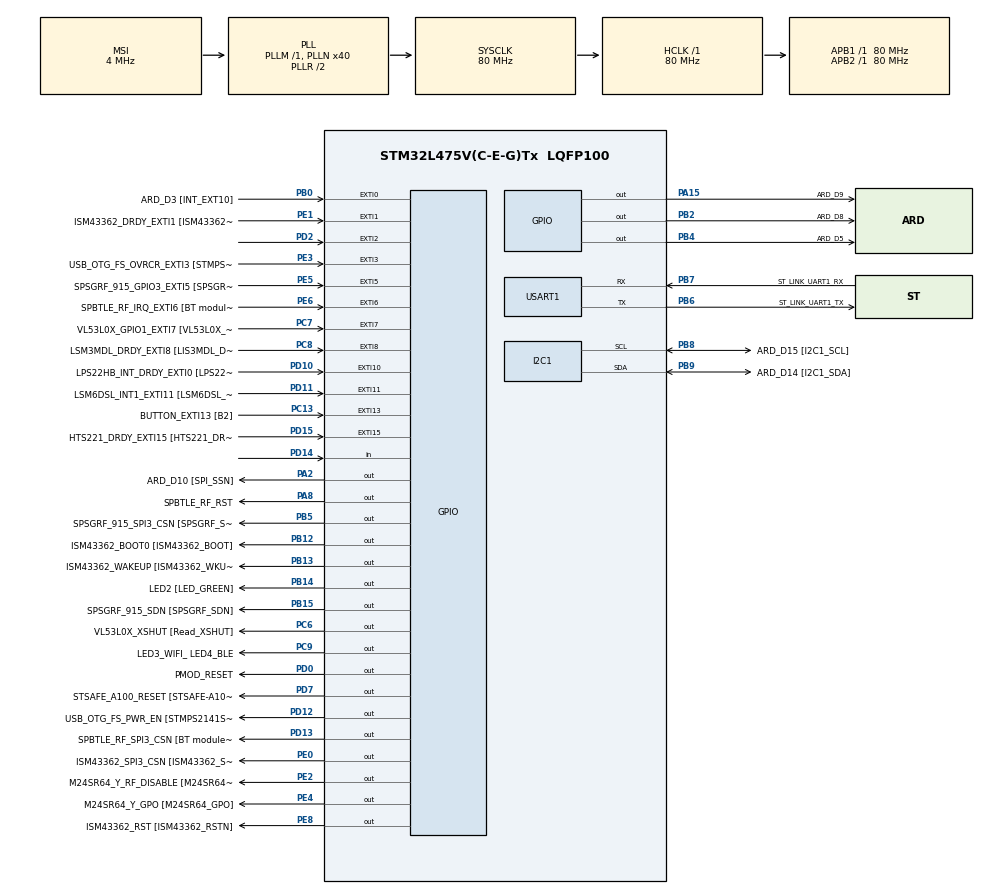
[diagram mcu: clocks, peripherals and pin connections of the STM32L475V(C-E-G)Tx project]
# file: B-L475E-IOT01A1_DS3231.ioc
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I2C1.Timing=0x10909CEC
Mcu.Family=STM32L4
Mcu.Name=STM32L475V(C-E-G)Tx
Mcu.Package=LQFP100
NVIC.EXTI15_10_IRQn=true\:0\:0\:false\:false\:true\:true\:true\:true
NVIC.EXTI9_5_IRQn=true\:0\:0\:false\:false\:true\:true\:true\:true
NVIC.PriorityGroup=NVIC_PRIORITYGROUP_4
PA0.GPIO_Label=ARD_D1 [UART4_TX]
PA0.Signal=UART4_TX
PA1.GPIO_Label=ARD_D0 [UART4_RX]
PA1.Signal=UART4_RX
PA10.GPIO_Label=USB_OTG_FS_ID
PA10.Signal=USB_OTG_FS_ID
PA11.GPIO_Label=USB_OTG_FS_DM
PA11.Signal=USB_OTG_FS_DM
PA12.GPIO_Label=USB_OTG_FS_DP
PA12.Signal=USB_OTG_FS_DP
PA13\ (JTMS-SWDIO).GPIO_Label=SYS_JTMS_SWDIO
PA13\ (JTMS-SWDIO).Signal=SYS_JTMS-SWDIO
PA14\ (JTCK-SWCLK).GPIO_Label=SYS_JTCK_SWCLK
PA14\ (JTCK-SWCLK).Signal=SYS_JTCK-SWCLK
PA15\ (JTDI).GPIO_Label=ARD_D9
PA15\ (JTDI).Signal=GPIO_Output
PA2.GPIO_Label=ARD_D10 [SPI_SSN]
PA2.Signal=GPIO_Output
PA3.GPIO_Label=ARD_D4
PA3.Signal=S_TIM2_CH4
PA4.GPIO_Label=ARD_D7
PA4.Signal=ADCx_IN9
PA5.GPIO_Label=ARD_D13 [SPI1_SCK]
PA5.Signal=SPI1_SCK
PA6.GPIO_Label=ARD_D12 [SPI1_MISO]
PA6.Signal=SPI1_MISO
PA7.GPIO_Label=ARD_D11 [SPI1_MOSI]
PA7.Signal=SPI1_MOSI
PA8.GPIO_Label=SPBTLE_RF_RST
PA8.Signal=GPIO_Output
PA9.GPIO_Label=USB_OTG_FS_VBUS [STMPS2141STR_OUT]
PA9.Signal=USB_OTG_FS_VBUS
PB0.GPIO_Label=ARD_D3 [INT_EXT10]
PB0.Signal=GPXTI0
PB1.GPIO_Label=ARD_D6 [ADC1_IN6]
PB1.Signal=ADCx_IN16
PB10.GPIO_Label=INTERNAL_I2C2_SCL [VL53L0X_SCL]
PB10.Signal=I2C2_SCL
PB11.GPIO_Label=INTERNAL_I2C2_SDA [VL53L0X_SDA]
PB11.Signal=I2C2_SDA
PB12.GPIO_Label=ISM43362_BOOT0 [ISM43362_BOOT]
PB12.Signal=GPIO_Output
PB13.GPIO_Label=ISM43362_WAKEUP [ISM43362_WKUP]
PB13.Signal=GPIO_Output
PB14.GPIO_Label=LED2 [LED_GREEN]
PB14.Signal=GPIO_Output
PB15.GPIO_Label=SPSGRF_915_SDN [SPSGRF_SDN]
PB15.Signal=GPIO_Output
PB2.GPIO_Label=ARD_D8
PB2.Signal=GPIO_Output
PB3\ (JTDO-TRACESWO).GPIO_Label=SYS_JTD0_SWO
PB3\ (JTDO-TRACESWO).Signal=SYS_JTDO-SWO
PB4\ (NJTRST).GPIO_Label=ARD_D5
PB4\ (NJTRST).Signal=GPIO_Output
PB5.GPIO_Label=SPSGRF_915_SPI3_CSN [SPSGRF_SPI_CS]
PB5.PinState=GPIO_PIN_SET
PB5.Signal=GPIO_Output
PB6.GPIO_Label=ST_LINK_UART1_TX
PB6.Mode=Asynchronous
PB6.Signal=USART1_TX
PB7.GPIO_Label=ST_LINK_UART1_RX
PB7.Mode=Asynchronous
PB7.Signal=USART1_RX
PB8.GPIO_Label=ARD_D15 [I2C1_SCL]
PB8.Mode=I2C
PB8.Signal=I2C1_SCL
PB9.GPIO_Label=ARD_D14 [I2C1_SDA]
PB9.Mode=I2C
PB9.Signal=I2C1_SDA
PC0.GPIO_Label=ARD_A5 [ADC]
PC0.Signal=ADCx_IN1
PC1.GPIO_Label=ARD_A4 [ADC]
PC1.Signal=ADCx_IN2
PC10.GPIO_Label=INTERNAL_SPI3_SCK [BT module_SPI_SCLK] [ISM43362_SCK]
PC10.Signal=SPI3_SCK
PC11.GPIO_Label=INTERNAL_SPI3_MISO [BT module_SPI_MISO] [ISM43362_MISO]
PC11.Signal=SPI3_MISO
PC12.GPIO_Label=INTERNAL_SPI3_MOSI [BT module_SPI_MOSI] [ISM43362_MOSI]
PC12.Signal=SPI3_MOSI
PC13.GPIO_Label=BUTTON_EXTI13 [B2]
PC13.GPIO_ModeDefaultEXTI=GPIO_MODE_IT_FALLING
PC13.Signal=GPXTI13
PC14-OSC32_IN\ (PC14).Signal=RCC_OSC32_IN
PC15-OSC32_OUT\ (PC15).Signal=RCC_OSC32_OUT
PC2.GPIO_Label=ARD_A3 [ADC]
PC2.Signal=ADCx_IN3
PC3.GPIO_Label=ARD_A2 [ADC]
PC3.Signal=ADCx_IN4
PC4.GPIO_Label=ARD_A1 [ADC]
PC4.Signal=ADCx_IN13
PC5.GPIO_Label=ARD_A0 [ADC]
PC5.Signal=ADCx_IN14
PC6.GPIO_Label=VL53L0X_XSHUT [Read_XSHUT]
PC6.Signal=GPIO_Output
PC7.GPIO_Label=VL53L0X_GPIO1_EXTI7 [VL53L0X_GPIO1]
PC7.Signal=GPXTI7
PC8.GPIO_Label=LSM3MDL_DRDY_EXTI8 [LIS3MDL_DRDY]
PC8.Signal=GPXTI8
PC9.GPIO_Label=LED3_WIFI_ LED4_BLE
PC9.Signal=GPIO_Output
PD0.GPIO_Label=PMOD_RESET
PD0.Signal=GPIO_Output
PD1.GPIO_Label=PMOD_SPI2_SCK
PD1.Signal=SPI2_SCK
PD10.GPIO_Label=LPS22HB_INT_DRDY_EXTI0 [LPS22HB_INT_DRDY] 
PD10.Signal=GPXTI10
PD11.GPIO_Label=LSM6DSL_INT1_EXTI11 [LSM6DSL_INT1]
PD11.Signal=GPXTI11
PD12.GPIO_Label=USB_OTG_FS_PWR_EN [STMPS2141STR_EN]
PD12.Signal=GPIO_Output
PD13.GPIO_Label=SPBTLE_RF_SPI3_CSN [BT module_SPI_CS]
PD13.PinState=GPIO_PIN_SET
PD13.Signal=GPIO_Output
PD14.Signal=GPIO_Input
PD15.GPIO_Label=HTS221_DRDY_EXTI15 [HTS221_DRDY]
PD15.Signal=GPXTI15
PD2.Signal=GPXTI2
PD3.GPIO_Label=PMOD_UART2_CTS
PD3.Signal=USART2_CTS
PD4.GPIO_Label=PMOD_UART2_RTS
PD4.Signal=USART2_RTS
PD5.GPIO_Label=PMOD_UART2_TX
PD5.Signal=USART2_TX
PD6.GPIO_Label=PMOD_UART2_RX
PD6.Signal=USART2_RX
PD7.GPIO_Label=STSAFE_A100_RESET [STSAFE-A100_RESET]
PD7.Signal=GPIO_Output
PD8.GPIO_Label=INTERNAL_UART3_TX [ISM43362_RX]
PD8.Signal=USART3_TX
PD9.GPIO_Label=INTERNAL_UART3_RX [ISM43362_TX]
PD9.Signal=USART3_RX
PE0.GPIO_Label=ISM43362_SPI3_CSN [ISM43362_SSN]
PE0.PinState=GPIO_PIN_SET
PE0.Signal=GPIO_Output
PE1.GPIO_Label=ISM43362_DRDY_EXTI1 [ISM43362_DATARDY]
PE1.Signal=GPXTI1
PE10.GPIO_Label=QUADSPI_CLK [MX25R6435F_SCLK]
PE10.Signal=QUADSPI_CLK
PE11.GPIO_Label=QUADSPI_NCS [MX25R6435F_SCLK]
PE11.Signal=QUADSPI_NCS
PE12.GPIO_Label=OQUADSPI_BK1_IO0 [MX25R6435F_IO0]
PE12.Signal=QUADSPI_BK1_IO0
PE13.GPIO_Label=QUADSPI_BK1_IO1 [MX25R6435F_IO1]
PE13.Signal=QUADSPI_BK1_IO1
PE14.GPIO_Label=QUAD_SPI_BK1_IO2 [MX25R6435F_IO2]
PE14.Signal=QUADSPI_BK1_IO2
PE15.GPIO_Label=QUAD_SPI_BK1_IO3 [MX25R6435F_IO3]
PE15.Signal=QUADSPI_BK1_IO3
PE2.GPIO_Label=M24SR64_Y_RF_DISABLE [M24SR64_RFDIS]
PE2.Signal=GPIO_Output
PE3.GPIO_Label=USB_OTG_FS_OVRCR_EXTI3 [STMPS2141STR_FAULT]
PE3.Signal=GPXTI3
PE4.GPIO_Label=M24SR64_Y_GPO [M24SR64_GPO]
PE4.Signal=GPIO_Output
PE5.GPIO_Label=SPSGRF_915_GPIO3_EXTI5 [SPSGRF_GPIO_3]
PE5.Signal=GPXTI5
PE6.GPIO_Label=SPBTLE_RF_IRQ_EXTI6 [BT module_SPI_IRQ]
PE6.Signal=GPXTI6
PE7.GPIO_Label=DFSDM1_DATIN2 [MP34DT01_DOUT]
PE7.Signal=S_DATAIN2DFSDM1
PE8.GPIO_Label=ISM43362_RST [ISM43362_RSTN]
PE8.Signal=GPIO_Output
PE9.GPIO_Label=DFSDM1_CKOUT [MP34DT01_CLK]
PE9.Signal=S_CKOUTDFSDM1
ProjectManager.HeapSize=0x200
ProjectManager.StackSize=0x400
ProjectManager.TargetToolchain=STM32CubeIDE
RCC.ADCFreq_Value=48000000
RCC.AHBFreq_Value=80000000
RCC.APB1Freq_Value=80000000
RCC.APB1TimFreq_Value=80000000
RCC.APB2Freq_Value=80000000
RCC.APB2TimFreq_Value=80000000
RCC.CortexFreq_Value=80000000
RCC.HCLKFreq_Value=80000000
RCC.HSE_VALUE=8000000
RCC.HSI_VALUE=16000000
RCC.LSE_VALUE=32768
RCC.MSI_VALUE=4000000
RCC.PLLN=40
RCC.PLLSAI1N=24
RCC.SYSCLKFreq_VALUE=80000000
RCC.SYSCLKSource=RCC_SYSCLKSOURCE_PLLCLK
RCC.USBFreq_Value=48000000
RCC.VCOOutputFreq_Value=160000000
SH.ADCx_IN1.0=ADC1_IN1
SH.ADCx_IN13.0=ADC1_IN13
SH.ADCx_IN14.0=ADC1_IN14
SH.ADCx_IN16.0=ADC1_IN16
SH.ADCx_IN2.0=ADC1_IN2
SH.ADCx_IN3.0=ADC1_IN3
SH.ADCx_IN4.0=ADC1_IN4
SH.ADCx_IN9.0=ADC1_IN9
SH.S_CKOUTDFSDM1.0=DFSDM1_CKOUT
SH.S_DATAIN2DFSDM1.0=DFSDM1_DATIN2
SH.S_TIM2_CH4.0=TIM2_CH4
USART1.VirtualMode-Asynchronous=VM_ASYNC
board=B-L475E-IOT01A1

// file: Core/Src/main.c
/* USER CODE BEGIN Header */
/**
  ******************************************************************************
  * @file           : main.c
  * @brief          : Main program body
  ******************************************************************************
  * @attention
  *
  * Copyright (c) 2023 STMicroelectronics.
  * All rights reserved.
  *
  * This software is licensed under terms that can be found in the LICENSE file
  * in the root directory of this software component.
  * If no LICENSE file comes with this software, it is provided AS-IS.
  *
  ******************************************************************************
  */
/* USER CODE END Header */
#include "main.h"

/* USER CODE BEGIN Includes */
#include "stdio.h"
/* USER CODE END Includes */

/* USER CODE BEGIN PTD */

TIME time;
/* USER CODE END PTD */

I2C_HandleTypeDef hi2c1;

UART_HandleTypeDef huart1;

extern DS3231DrvTypDef DS3231;

void SystemClock_Config(void);
static void MX_GPIO_Init(void);
static void MX_I2C1_Init(void);
static void MX_USART1_UART_Init(void);

/* USER CODE BEGIN 0 */
// A function to set the time on the DS3231

// Convert binary coded decimal to normal decimal numbers

/* USER CODE END 0 */

int main(void)
{
  /* USER CODE BEGIN 1 */
  float TEMP;
  /* USER CODE END 1 */

  /* MCU Configuration--------------------------------------------------------*/

  /* Reset of all peripherals, Initializes the Flash interface and the Systick. */
  HAL_Init();

  /* Configure the system clock */
  SystemClock_Config();

  /* Initialize all configured peripherals */
  MX_GPIO_Init();
  MX_I2C1_Init();
  MX_USART1_UART_Init();
  /* USER CODE BEGIN 2 */
  //DS3231.SetTime(45, 45, 13, 6, 9, 7, 23);
  /* USER CODE END 2 */

  /* Infinite loop */
  while (1)
  {

    /* USER CODE BEGIN 3 */
	  DS3231.RetriveTime();
	  GPIO_PinState motionSensor_state = HAL_GPIO_ReadPin(GPIOD, GPIO_PIN_14);
	  char message[32];
	  char msg[64];

	  if(motionSensor_state == GPIO_PIN_SET){
		  sprintf(message, "Warning: Motion detected ! \r\n");
		  send_uart(message);
	  }else{
		  sprintf(message, "Normal ! \r\n");
		  send_uart(message);
	  }

      sprintf(msg, "Time: %02d:%02d:%02d \r\n"
    		  	   "Date: %02d-%02d-20%02d- Day of Week: %02d\r\n",
				   time.hour, time.minutes, time.seconds, time.dayofmonth, time.month, time.year, time.dayofweek);

      send_uart(msg);
      DS3231.TemperatureConversion_foreced();
      TEMP = DS3231.RetriveTemperature();
      sprintf(msg, "Current temperature: %.2f C \r\n\r\n", TEMP);
      send_uart(msg);

      // Delay for three seconds
      HAL_Delay(3000);

  }
  /* USER CODE END 3 */
}

void SystemClock_Config(void)
{
  RCC_OscInitTypeDef RCC_OscInitStruct = {0};
  RCC_ClkInitTypeDef RCC_ClkInitStruct = {0};

  /** Configure the main internal regulator output voltage
  */
  if (HAL_PWREx_ControlVoltageScaling(PWR_REGULATOR_VOLTAGE_SCALE1) != HAL_OK)
  {
    Error_Handler();
  }

  /** Initializes the RCC Oscillators according to the specified parameters
  * in the RCC_OscInitTypeDef structure.
  */
  RCC_OscInitStruct.OscillatorType = RCC_OSCILLATORTYPE_MSI;
  RCC_OscInitStruct.MSIState = RCC_MSI_ON;
  RCC_OscInitStruct.MSICalibrationValue = 0;
  RCC_OscInitStruct.MSIClockRange = RCC_MSIRANGE_6;
  RCC_OscInitStruct.PLL.PLLState = RCC_PLL_ON;
  RCC_OscInitStruct.PLL.PLLSource = RCC_PLLSOURCE_MSI;
  RCC_OscInitStruct.PLL.PLLM = 1;
  RCC_OscInitStruct.PLL.PLLN = 40;
  RCC_OscInitStruct.PLL.PLLP = RCC_PLLP_DIV7;
  RCC_OscInitStruct.PLL.PLLQ = RCC_PLLQ_DIV2;
  RCC_OscInitStruct.PLL.PLLR = RCC_PLLR_DIV2;
  if (HAL_RCC_OscConfig(&RCC_OscInitStruct) != HAL_OK)
  {
    Error_Handler();
  }

  /** Initializes the CPU, AHB and APB buses clocks
  */
  RCC_ClkInitStruct.ClockType = RCC_CLOCKTYPE_HCLK|RCC_CLOCKTYPE_SYSCLK
                              |RCC_CLOCKTYPE_PCLK1|RCC_CLOCKTYPE_PCLK2;
  RCC_ClkInitStruct.SYSCLKSource = RCC_SYSCLKSOURCE_PLLCLK;
  RCC_ClkInitStruct.AHBCLKDivider = RCC_SYSCLK_DIV1;
  RCC_ClkInitStruct.APB1CLKDivider = RCC_HCLK_DIV1;
  RCC_ClkInitStruct.APB2CLKDivider = RCC_HCLK_DIV1;

  if (HAL_RCC_ClockConfig(&RCC_ClkInitStruct, FLASH_LATENCY_4) != HAL_OK)
  {
    Error_Handler();
  }
}

static void MX_I2C1_Init(void)
{

  hi2c1.Instance = I2C1;
  hi2c1.Init.Timing = 0x10909CEC;
  hi2c1.Init.OwnAddress1 = 0;
  hi2c1.Init.AddressingMode = I2C_ADDRESSINGMODE_7BIT;
  hi2c1.Init.DualAddressMode = I2C_DUALADDRESS_DISABLE;
  hi2c1.Init.OwnAddress2 = 0;
  hi2c1.Init.OwnAddress2Masks = I2C_OA2_NOMASK;
  hi2c1.Init.GeneralCallMode = I2C_GENERALCALL_DISABLE;
  hi2c1.Init.NoStretchMode = I2C_NOSTRETCH_DISABLE;
  if (HAL_I2C_Init(&hi2c1) != HAL_OK)
  {
    Error_Handler();
  }

  /** Configure Analogue filter
  */
  if (HAL_I2CEx_ConfigAnalogFilter(&hi2c1, I2C_ANALOGFILTER_ENABLE) != HAL_OK)
  {
    Error_Handler();
  }

  /** Configure Digital filter
  */
  if (HAL_I2CEx_ConfigDigitalFilter(&hi2c1, 0) != HAL_OK)
  {
    Error_Handler();
  }

}

static void MX_USART1_UART_Init(void)
{

  huart1.Instance = USART1;
  huart1.Init.BaudRate = 115200;
  huart1.Init.WordLength = UART_WORDLENGTH_8B;
  huart1.Init.StopBits = UART_STOPBITS_1;
  huart1.Init.Parity = UART_PARITY_NONE;
  huart1.Init.Mode = UART_MODE_TX_RX;
  huart1.Init.HwFlowCtl = UART_HWCONTROL_NONE;
  huart1.Init.OverSampling = UART_OVERSAMPLING_16;
  huart1.Init.OneBitSampling = UART_ONE_BIT_SAMPLE_DISABLE;
  huart1.AdvancedInit.AdvFeatureInit = UART_ADVFEATURE_NO_INIT;
  if (HAL_UART_Init(&huart1) != HAL_OK)
  {
    Error_Handler();
  }

}

static void MX_GPIO_Init(void)
{
  GPIO_InitTypeDef GPIO_InitStruct = {0};

  /* GPIO Ports Clock Enable */
  __HAL_RCC_GPIOE_CLK_ENABLE();
  __HAL_RCC_GPIOC_CLK_ENABLE();
  __HAL_RCC_GPIOA_CLK_ENABLE();
  __HAL_RCC_GPIOB_CLK_ENABLE();
  __HAL_RCC_GPIOD_CLK_ENABLE();

  /*Configure GPIO pin Output Level */
  HAL_GPIO_WritePin(GPIOE, M24SR64_Y_RF_DISABLE_Pin|M24SR64_Y_GPO_Pin|ISM43362_RST_Pin, GPIO_PIN_RESET);

  /*Configure GPIO pin Output Level */
  HAL_GPIO_WritePin(GPIOA, ARD_D10_Pin|SPBTLE_RF_RST_Pin|ARD_D9_Pin, GPIO_PIN_RESET);

  /*Configure GPIO pin Output Level */
  HAL_GPIO_WritePin(GPIOB, ARD_D8_Pin|ISM43362_BOOT0_Pin|ISM43362_WAKEUP_Pin|LED2_Pin
                          |SPSGRF_915_SDN_Pin|ARD_D5_Pin, GPIO_PIN_RESET);

  /*Configure GPIO pin Output Level */
  HAL_GPIO_WritePin(GPIOD, USB_OTG_FS_PWR_EN_Pin|PMOD_RESET_Pin|STSAFE_A100_RESET_Pin, GPIO_PIN_RESET);

  /*Configure GPIO pin Output Level */
  HAL_GPIO_WritePin(SPBTLE_RF_SPI3_CSN_GPIO_Port, SPBTLE_RF_SPI3_CSN_Pin, GPIO_PIN_SET);

  /*Configure GPIO pin Output Level */
  HAL_GPIO_WritePin(GPIOC, VL53L0X_XSHUT_Pin|LED3_WIFI__LED4_BLE_Pin, GPIO_PIN_RESET);

  /*Configure GPIO pin Output Level */
  HAL_GPIO_WritePin(SPSGRF_915_SPI3_CSN_GPIO_Port, SPSGRF_915_SPI3_CSN_Pin, GPIO_PIN_SET);

  /*Configure GPIO pin Output Level */
  HAL_GPIO_WritePin(ISM43362_SPI3_CSN_GPIO_Port, ISM43362_SPI3_CSN_Pin, GPIO_PIN_SET);

  /*Configure GPIO pins : M24SR64_Y_RF_DISABLE_Pin M24SR64_Y_GPO_Pin ISM43362_RST_Pin ISM43362_SPI3_CSN_Pin */
  GPIO_InitStruct.Pin = M24SR64_Y_RF_DISABLE_Pin|M24SR64_Y_GPO_Pin|ISM43362_RST_Pin|ISM43362_SPI3_CSN_Pin;
  GPIO_InitStruct.Mode = GPIO_MODE_OUTPUT_PP;
  GPIO_InitStruct.Pull = GPIO_NOPULL;
  GPIO_InitStruct.Speed = GPIO_SPEED_FREQ_LOW;
  HAL_GPIO_Init(GPIOE, &GPIO_InitStruct);

  /*Configure GPIO pins : USB_OTG_FS_OVRCR_EXTI3_Pin SPSGRF_915_GPIO3_EXTI5_Pin SPBTLE_RF_IRQ_EXTI6_Pin ISM43362_DRDY_EXTI1_Pin */
  GPIO_InitStruct.Pin = USB_OTG_FS_OVRCR_EXTI3_Pin|SPSGRF_915_GPIO3_EXTI5_Pin|SPBTLE_RF_IRQ_EXTI6_Pin|ISM43362_DRDY_EXTI1_Pin;
  GPIO_InitStruct.Mode = GPIO_MODE_IT_RISING;
  GPIO_InitStruct.Pull = GPIO_NOPULL;
  HAL_GPIO_Init(GPIOE, &GPIO_InitStruct);

  /*Configure GPIO pin : BUTTON_EXTI13_Pin */
  GPIO_InitStruct.Pin = BUTTON_EXTI13_Pin;
  GPIO_InitStruct.Mode = GPIO_MODE_IT_FALLING;
  GPIO_InitStruct.Pull = GPIO_NOPULL;
  HAL_GPIO_Init(BUTTON_EXTI13_GPIO_Port, &GPIO_InitStruct);

  /*Configure GPIO pins : ARD_A5_Pin ARD_A4_Pin ARD_A3_Pin ARD_A2_Pin
                           ARD_A1_Pin ARD_A0_Pin */
  GPIO_InitStruct.Pin = ARD_A5_Pin|ARD_A4_Pin|ARD_A3_Pin|ARD_A2_Pin
                          |ARD_A1_Pin|ARD_A0_Pin;
  GPIO_InitStruct.Mode = GPIO_MODE_ANALOG_ADC_CONTROL;
  GPIO_InitStruct.Pull = GPIO_NOPULL;
  HAL_GPIO_Init(GPIOC, &GPIO_InitStruct);

  /*Configure GPIO pins : ARD_D1_Pin ARD_D0_Pin */
  GPIO_InitStruct.Pin = ARD_D1_Pin|ARD_D0_Pin;
  GPIO_InitStruct.Mode = GPIO_MODE_AF_PP;
  GPIO_InitStruct.Pull = GPIO_NOPULL;
  GPIO_InitStruct.Speed = GPIO_SPEED_FREQ_VERY_HIGH;
  GPIO_InitStruct.Alternate = GPIO_AF8_UART4;
  HAL_GPIO_Init(GPIOA, &GPIO_InitStruct);

  /*Configure GPIO pins : ARD_D10_Pin SPBTLE_RF_RST_Pin ARD_D9_Pin */
  GPIO_InitStruct.Pin = ARD_D10_Pin|SPBTLE_RF_RST_Pin|ARD_D9_Pin;
  GPIO_InitStruct.Mode = GPIO_MODE_OUTPUT_PP;
  GPIO_InitStruct.Pull = GPIO_NOPULL;
  GPIO_InitStruct.Speed = GPIO_SPEED_FREQ_LOW;
  HAL_GPIO_Init(GPIOA, &GPIO_InitStruct);

  /*Configure GPIO pin : ARD_D4_Pin */
  GPIO_InitStruct.Pin = ARD_D4_Pin;
  GPIO_InitStruct.Mode = GPIO_MODE_AF_PP;
  GPIO_InitStruct.Pull = GPIO_NOPULL;
  GPIO_InitStruct.Speed = GPIO_SPEED_FREQ_LOW;
  GPIO_InitStruct.Alternate = GPIO_AF1_TIM2;
  HAL_GPIO_Init(ARD_D4_GPIO_Port, &GPIO_InitStruct);

  /*Configure GPIO pin : ARD_D7_Pin */
  GPIO_InitStruct.Pin = ARD_D7_Pin;
  GPIO_InitStruct.Mode = GPIO_MODE_ANALOG_ADC_CONTROL;
  GPIO_InitStruct.Pull = GPIO_NOPULL;
  HAL_GPIO_Init(ARD_D7_GPIO_Port, &GPIO_InitStruct);

  /*Configure GPIO pins : ARD_D13_Pin ARD_D12_Pin ARD_D11_Pin */
  GPIO_InitStruct.Pin = ARD_D13_Pin|ARD_D12_Pin|ARD_D11_Pin;
  GPIO_InitStruct.Mode = GPIO_MODE_AF_PP;
  GPIO_InitStruct.Pull = GPIO_NOPULL;
  GPIO_InitStruct.Speed = GPIO_SPEED_FREQ_VERY_HIGH;
  GPIO_InitStruct.Alternate = GPIO_AF5_SPI1;
  HAL_GPIO_Init(GPIOA, &GPIO_InitStruct);

  /*Configure GPIO pin : ARD_D3_Pin */
  GPIO_InitStruct.Pin = ARD_D3_Pin;
  GPIO_InitStruct.Mode = GPIO_MODE_IT_RISING;
  GPIO_InitStruct.Pull = GPIO_NOPULL;
  HAL_GPIO_Init(ARD_D3_GPIO_Port, &GPIO_InitStruct);

  /*Configure GPIO pin : ARD_D6_Pin */
  GPIO_InitStruct.Pin = ARD_D6_Pin;
  GPIO_InitStruct.Mode = GPIO_MODE_ANALOG_ADC_CONTROL;
  GPIO_InitStruct.Pull = GPIO_NOPULL;
  HAL_GPIO_Init(ARD_D6_GPIO_Port, &GPIO_InitStruct);

  /*Configure GPIO pins : ARD_D8_Pin ISM43362_BOOT0_Pin ISM43362_WAKEUP_Pin LED2_Pin
                           SPSGRF_915_SDN_Pin ARD_D5_Pin SPSGRF_915_SPI3_CSN_Pin */
  GPIO_InitStruct.Pin = ARD_D8_Pin|ISM43362_BOOT0_Pin|ISM43362_WAKEUP_Pin|LED2_Pin
                          |SPSGRF_915_SDN_Pin|ARD_D5_Pin|SPSGRF_915_SPI3_CSN_Pin;
  GPIO_InitStruct.Mode = GPIO_MODE_OUTPUT_PP;
  GPIO_InitStruct.Pull = GPIO_NOPULL;
  GPIO_InitStruct.Speed = GPIO_SPEED_FREQ_LOW;
  HAL_GPIO_Init(GPIOB, &GPIO_InitStruct);

  /*Configure GPIO pins : DFSDM1_DATIN2_Pin DFSDM1_CKOUT_Pin */
  GPIO_InitStruct.Pin = DFSDM1_DATIN2_Pin|DFSDM1_CKOUT_Pin;
  GPIO_InitStruct.Mode = GPIO_MODE_AF_PP;
  GPIO_InitStruct.Pull = GPIO_NOPULL;
  GPIO_InitStruct.Speed = GPIO_SPEED_FREQ_LOW;
  GPIO_InitStruct.Alternate = GPIO_AF6_DFSDM1;
  HAL_GPIO_Init(GPIOE, &GPIO_InitStruct);

  /*Configure GPIO pins : QUADSPI_CLK_Pin QUADSPI_NCS_Pin OQUADSPI_BK1_IO0_Pin QUADSPI_BK1_IO1_Pin
                           QUAD_SPI_BK1_IO2_Pin QUAD_SPI_BK1_IO3_Pin */
  GPIO_InitStruct.Pin = QUADSPI_CLK_Pin|QUADSPI_NCS_Pin|OQUADSPI_BK1_IO0_Pin|QUADSPI_BK1_IO1_Pin
                          |QUAD_SPI_BK1_IO2_Pin|QUAD_SPI_BK1_IO3_Pin;
  GPIO_InitStruct.Mode = GPIO_MODE_AF_PP;
  GPIO_InitStruct.Pull = GPIO_NOPULL;
  GPIO_InitStruct.Speed = GPIO_SPEED_FREQ_VERY_HIGH;
  GPIO_InitStruct.Alternate = GPIO_AF10_QUADSPI;
  HAL_GPIO_Init(GPIOE, &GPIO_InitStruct);

  /*Configure GPIO pins : INTERNAL_I2C2_SCL_Pin INTERNAL_I2C2_SDA_Pin */
  GPIO_InitStruct.Pin = INTERNAL_I2C2_SCL_Pin|INTERNAL_I2C2_SDA_Pin;
  GPIO_InitStruct.Mode = GPIO_MODE_AF_OD;
  GPIO_InitStruct.Pull = GPIO_NOPULL;
  GPIO_InitStruct.Speed = GPIO_SPEED_FREQ_VERY_HIGH;
  GPIO_InitStruct.Alternate = GPIO_AF4_I2C2;
  HAL_GPIO_Init(GPIOB, &GPIO_InitStruct);

  /*Configure GPIO pins : INTERNAL_UART3_TX_Pin INTERNAL_UART3_RX_Pin */
  GPIO_InitStruct.Pin = INTERNAL_UART3_TX_Pin|INTERNAL_UART3_RX_Pin;
  GPIO_InitStruct.Mode = GPIO_MODE_AF_PP;
  GPIO_InitStruct.Pull = GPIO_NOPULL;
  GPIO_InitStruct.Speed = GPIO_SPEED_FREQ_VERY_HIGH;
  GPIO_InitStruct.Alternate = GPIO_AF7_USART3;
  HAL_GPIO_Init(GPIOD, &GPIO_InitStruct);

  /*Configure GPIO pins : LPS22HB_INT_DRDY_EXTI0_Pin LSM6DSL_INT1_EXTI11_Pin HTS221_DRDY_EXTI15_Pin PD2 */
  GPIO_InitStruct.Pin = LPS22HB_INT_DRDY_EXTI0_Pin|LSM6DSL_INT1_EXTI11_Pin|HTS221_DRDY_EXTI15_Pin|GPIO_PIN_2;
  GPIO_InitStruct.Mode = GPIO_MODE_IT_RISING;
  GPIO_InitStruct.Pull = GPIO_NOPULL;
  HAL_GPIO_Init(GPIOD, &GPIO_InitStruct);

  /*Configure GPIO pins : USB_OTG_FS_PWR_EN_Pin SPBTLE_RF_SPI3_CSN_Pin PMOD_RESET_Pin STSAFE_A100_RESET_Pin */
  GPIO_InitStruct.Pin = USB_OTG_FS_PWR_EN_Pin|SPBTLE_RF_SPI3_CSN_Pin|PMOD_RESET_Pin|STSAFE_A100_RESET_Pin;
  GPIO_InitStruct.Mode = GPIO_MODE_OUTPUT_PP;
  GPIO_InitStruct.Pull = GPIO_NOPULL;
  GPIO_InitStruct.Speed = GPIO_SPEED_FREQ_LOW;
  HAL_GPIO_Init(GPIOD, &GPIO_InitStruct);

  /*Configure GPIO pin : PD14 */
  GPIO_InitStruct.Pin = GPIO_PIN_14;
  GPIO_InitStruct.Mode = GPIO_MODE_INPUT;
  GPIO_InitStruct.Pull = GPIO_NOPULL;
  HAL_GPIO_Init(GPIOD, &GPIO_InitStruct);

  /*Configure GPIO pins : VL53L0X_XSHUT_Pin LED3_WIFI__LED4_BLE_Pin */
  GPIO_InitStruct.Pin = VL53L0X_XSHUT_Pin|LED3_WIFI__LED4_BLE_Pin;
  GPIO_InitStruct.Mode = GPIO_MODE_OUTPUT_PP;
  GPIO_InitStruct.Pull = GPIO_NOPULL;
  GPIO_InitStruct.Speed = GPIO_SPEED_FREQ_LOW;
  HAL_GPIO_Init(GPIOC, &GPIO_InitStruct);

  /*Configure GPIO pins : VL53L0X_GPIO1_EXTI7_Pin LSM3MDL_DRDY_EXTI8_Pin */
  GPIO_InitStruct.Pin = VL53L0X_GPIO1_EXTI7_Pin|LSM3MDL_DRDY_EXTI8_Pin;
  GPIO_InitStruct.Mode = GPIO_MODE_IT_RISING;
  GPIO_InitStruct.Pull = GPIO_NOPULL;
  HAL_GPIO_Init(GPIOC, &GPIO_InitStruct);

  /*Configure GPIO pin : USB_OTG_FS_VBUS_Pin */
  GPIO_InitStruct.Pin = USB_OTG_FS_VBUS_Pin;
  GPIO_InitStruct.Mode = GPIO_MODE_INPUT;
  GPIO_InitStruct.Pull = GPIO_NOPULL;
  HAL_GPIO_Init(USB_OTG_FS_VBUS_GPIO_Port, &GPIO_InitStruct);

  /*Configure GPIO pins : USB_OTG_FS_ID_Pin USB_OTG_FS_DM_Pin USB_OTG_FS_DP_Pin */
  GPIO_InitStruct.Pin = USB_OTG_FS_ID_Pin|USB_OTG_FS_DM_Pin|USB_OTG_FS_DP_Pin;
  GPIO_InitStruct.Mode = GPIO_MODE_AF_PP;
  GPIO_InitStruct.Pull = GPIO_NOPULL;
  GPIO_InitStruct.Speed = GPIO_SPEED_FREQ_VERY_HIGH;
  GPIO_InitStruct.Alternate = GPIO_AF10_OTG_FS;
  HAL_GPIO_Init(GPIOA, &GPIO_InitStruct);

  /*Configure GPIO pins : INTERNAL_SPI3_SCK_Pin INTERNAL_SPI3_MISO_Pin INTERNAL_SPI3_MOSI_Pin */
  GPIO_InitStruct.Pin = INTERNAL_SPI3_SCK_Pin|INTERNAL_SPI3_MISO_Pin|INTERNAL_SPI3_MOSI_Pin;
  GPIO_InitStruct.Mode = GPIO_MODE_AF_PP;
  GPIO_InitStruct.Pull = GPIO_NOPULL;
  GPIO_InitStruct.Speed = GPIO_SPEED_FREQ_VERY_HIGH;
  GPIO_InitStruct.Alternate = GPIO_AF6_SPI3;
  HAL_GPIO_Init(GPIOC, &GPIO_InitStruct);

  /*Configure GPIO pin : PMOD_SPI2_SCK_Pin */
  GPIO_InitStruct.Pin = PMOD_SPI2_SCK_Pin;
  GPIO_InitStruct.Mode = GPIO_MODE_AF_PP;
  GPIO_InitStruct.Pull = GPIO_NOPULL;
  GPIO_InitStruct.Speed = GPIO_SPEED_FREQ_VERY_HIGH;
  GPIO_InitStruct.Alternate = GPIO_AF5_SPI2;
  HAL_GPIO_Init(PMOD_SPI2_SCK_GPIO_Port, &GPIO_InitStruct);

  /*Configure GPIO pins : PMOD_UART2_CTS_Pin PMOD_UART2_RTS_Pin PMOD_UART2_TX_Pin PMOD_UART2_RX_Pin */
  GPIO_InitStruct.Pin = PMOD_UART2_CTS_Pin|PMOD_UART2_RTS_Pin|PMOD_UART2_TX_Pin|PMOD_UART2_RX_Pin;
  GPIO_InitStruct.Mode = GPIO_MODE_AF_PP;
  GPIO_InitStruct.Pull = GPIO_NOPULL;
  GPIO_InitStruct.Speed = GPIO_SPEED_FREQ_VERY_HIGH;
  GPIO_InitStruct.Alternate = GPIO_AF7_USART2;
  HAL_GPIO_Init(GPIOD, &GPIO_InitStruct);

  /* EXTI interrupt init*/
  HAL_NVIC_SetPriority(EXTI9_5_IRQn, 0, 0);
  HAL_NVIC_EnableIRQ(EXTI9_5_IRQn);

  HAL_NVIC_SetPriority(EXTI15_10_IRQn, 0, 0);
  HAL_NVIC_EnableIRQ(EXTI15_10_IRQn);

}

void Error_Handler(void)
{
  __disable_irq();
  while (1)
  {
  }
}
